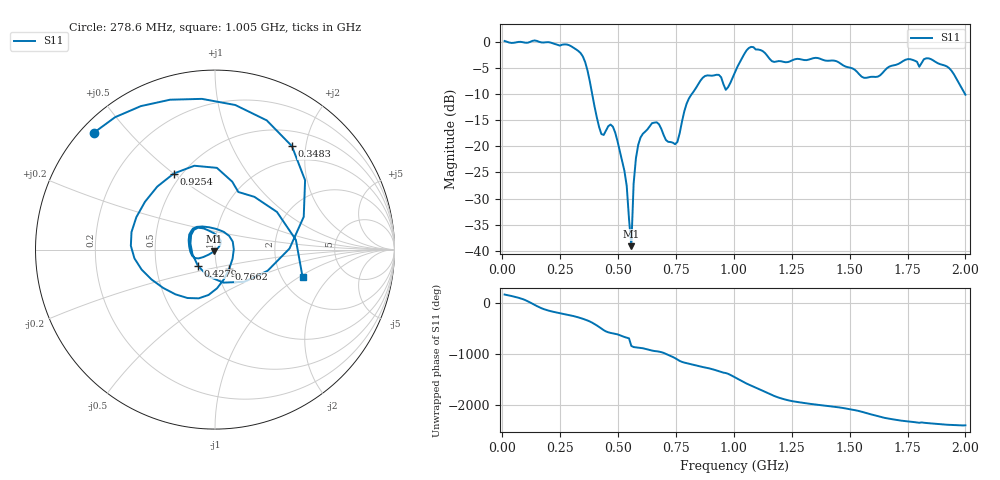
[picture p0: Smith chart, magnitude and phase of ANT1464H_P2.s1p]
!Created with skrf (http://scikit-rf.org).
# Hz S RI R 50.0
!freq ReS11 ImS11
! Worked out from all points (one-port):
!   201 points, 10 MHz to 2 GHz, reference 50 ohm
!   lowest |S11| = -39.1 dB at 557.2 MHz (marker M1), VSWR 1.02, Z = 49.5 - j0.964 ohm
!   |S11| at or under -10 dB: 388.1 MHz to 818.7 MHz (430.6 MHz wide, 71.4 % of centre); 1.998191 GHz to end of sweep
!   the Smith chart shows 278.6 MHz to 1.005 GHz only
!   S11 on the Smith chart (normalised r, x): 278.6 MHz: 0.04, +0.40; 348.3 MHz: 0.73, +1.75; 427.9 MHz: 0.81, -0.15; 766.2 MHz: 1.14, -0.25; 925.4 MHz: 0.45, +0.50; 1.005 GHz: 2.58, -1.09
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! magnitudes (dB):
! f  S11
! 10 MHz  0.1
! 258.8 MHz  -0.6
! 278.6 MHz  -0.6
! 348.3 MHz  -2.9
! 427.9 MHz  -17.7
! 467.7 MHz  -15.8
! 507.5 MHz  -20.9
! 537.4 MHz  -27.6
! 557.2 MHz  -39.1
! 567.2 MHz  -27.1
! 577.1 MHz  -22.3
! 597 MHz  -18.3
! 666.7 MHz  -15.4
! 706.5 MHz  -18.8
! 756.2 MHz  -19.2
! 766.2 MHz  -17.5
! 806 MHz  -10.9
! 865.7 MHz  -6.9
! 925.4 MHz  -6.3
! 965.2 MHz  -9.2
! 1.005 GHz  -5.8
! 1.075 GHz  -1.0
! 1.254 GHz  -3.5
! 1.502 GHz  -5.0
! 1.622 GHz  -6.7
! 1.751 GHz  -3.3
! 1.92 GHz  -4.8
! 2 GHz  -10.1
